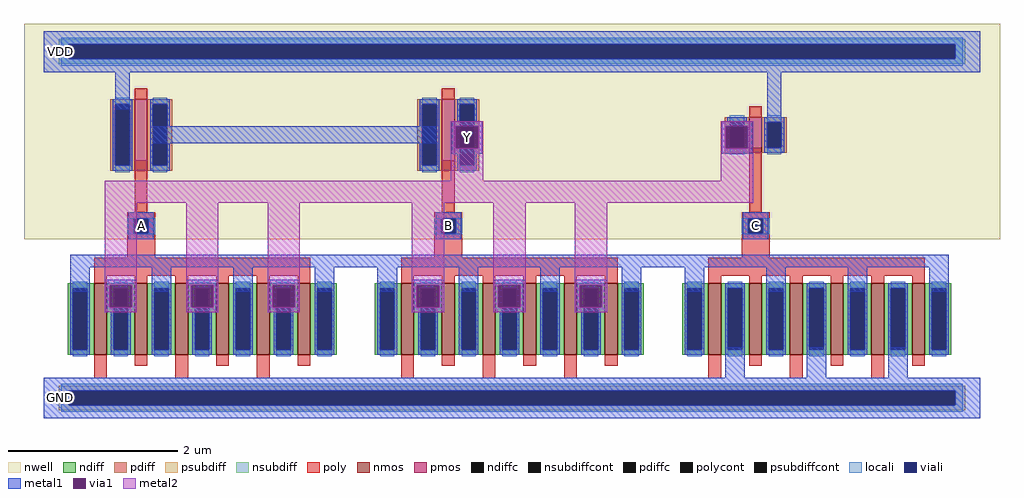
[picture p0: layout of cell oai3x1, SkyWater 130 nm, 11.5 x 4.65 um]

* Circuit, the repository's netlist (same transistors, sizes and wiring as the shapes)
** sch_path: /foss/designs/oai3x1.sch
.subckt oai3x1 VDD GND A B C Y
*.PININFO VDD:B GND:B A:I B:I C:I Y:O
XM2 net2 A VDD VDD sky130_fd_pr__pfet_01v8 L=0.15 W=0.84 nf=1
XM3 Y C VDD VDD sky130_fd_pr__pfet_01v8 L=0.15 W=0.42 nf=1
XM4 Y A net1 GND sky130_fd_pr__nfet_01v8 L=0.15 W=5.04 nf=6
XM1 Y B net2 VDD sky130_fd_pr__pfet_01v8 L=0.15 W=0.84 nf=1
XM6 net1 C GND GND sky130_fd_pr__nfet_01v8 L=0.15 W=5.04 nf=6
XM5 Y B net1 GND sky130_fd_pr__nfet_01v8 L=0.15 W=5.04 nf=6
.ends

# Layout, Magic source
magic
tech sky130A
magscale 1 2
<< nwell >>
rect -46 374 2254 882
<< psubdiff >>
rect 36 17 2172 29
rect 36 -17 60 17
rect 2148 -17 2172 17
rect 36 -29 2172 -17
<< nsubdiff >>
rect 36 833 2172 845
rect 36 799 60 833
rect 2148 799 2172 833
rect 36 787 2172 799
<< psubdiffcont >>
rect 60 -17 2148 17
<< nsubdiffcont >>
rect 60 799 2148 833
<< poly >>
rect 215 438 245 560
rect 939 438 969 560
rect 1663 438 1693 590
rect 197 422 263 438
rect 197 388 213 422
rect 247 388 263 422
rect 197 330 263 388
rect 921 422 987 438
rect 921 388 937 422
rect 971 388 987 422
rect 921 330 987 388
rect 1645 422 1711 438
rect 1645 388 1661 422
rect 1695 388 1711 422
rect 1645 330 1711 388
rect 119 288 629 330
rect 843 288 1353 330
rect 1567 288 2077 330
<< polycont >>
rect 213 388 247 422
rect 937 388 971 422
rect 1661 388 1695 422
<< locali >>
rect 42 833 2166 849
rect 42 799 60 833
rect 2148 799 2166 833
rect 42 783 2166 799
rect 197 422 263 424
rect 197 388 213 422
rect 247 388 263 422
rect 197 386 263 388
rect 921 422 987 424
rect 921 388 937 422
rect 971 388 987 422
rect 921 386 987 388
rect 1645 422 1711 424
rect 1645 388 1661 422
rect 1695 388 1711 422
rect 1645 386 1711 388
rect 42 17 2166 33
rect 42 -17 60 17
rect 2148 -17 2166 17
rect 42 -33 2166 -17
<< viali >>
rect 60 799 2148 833
rect 213 388 247 422
rect 937 388 971 422
rect 1661 388 1695 422
rect 60 -17 2148 17
<< metal1 >>
rect 0 833 2208 864
rect 0 799 60 833
rect 2148 799 2208 833
rect 0 768 2208 799
rect 169 680 203 768
rect 962 640 1034 652
rect 251 600 933 640
rect 962 588 972 640
rect 1024 588 1034 640
rect 962 576 1034 588
rect 1598 640 1670 652
rect 1705 650 1739 768
rect 1598 588 1608 640
rect 1660 588 1670 640
rect 1598 576 1670 588
rect 200 422 260 438
rect 200 388 213 422
rect 247 388 260 422
rect 200 374 260 388
rect 924 422 984 438
rect 924 388 937 422
rect 971 388 984 422
rect 924 374 984 388
rect 1648 422 1708 438
rect 1648 388 1661 422
rect 1695 388 1708 422
rect 1648 374 1708 388
rect 63 308 2133 338
rect 63 250 109 308
rect 144 266 220 278
rect 144 214 156 266
rect 208 214 220 266
rect 255 250 301 308
rect 336 266 412 278
rect 144 202 220 214
rect 336 214 348 266
rect 400 214 412 266
rect 447 250 493 308
rect 528 266 604 278
rect 336 202 412 214
rect 528 214 540 266
rect 592 214 604 266
rect 639 250 685 308
rect 787 250 833 308
rect 868 266 944 278
rect 528 202 604 214
rect 868 214 880 266
rect 932 214 944 266
rect 979 250 1025 308
rect 1060 266 1136 278
rect 868 202 944 214
rect 1060 214 1072 266
rect 1124 214 1136 266
rect 1171 250 1217 308
rect 1252 266 1328 278
rect 1060 202 1136 214
rect 1252 214 1264 266
rect 1316 214 1328 266
rect 1363 250 1409 308
rect 1511 250 1557 308
rect 1703 250 1749 308
rect 1895 250 1941 308
rect 2087 250 2133 308
rect 1252 202 1328 214
rect 1607 48 1653 120
rect 1799 48 1845 120
rect 1991 48 2037 120
rect 0 17 2208 48
rect 0 -17 60 17
rect 2148 -17 2208 17
rect 0 -48 2208 -17
<< via1 >>
rect 972 588 1024 640
rect 1608 588 1660 640
rect 156 214 208 266
rect 348 214 400 266
rect 540 214 592 266
rect 880 214 932 266
rect 1072 214 1124 266
rect 1264 214 1316 266
<< metal2 >>
rect 960 640 1036 652
rect 960 588 972 640
rect 1024 588 1036 640
rect 960 512 1036 588
rect 1596 640 1672 652
rect 1596 588 1608 640
rect 1660 588 1672 640
rect 1596 512 1672 588
rect 144 460 1672 512
rect 144 266 220 460
rect 144 214 156 266
rect 208 214 220 266
rect 144 202 220 214
rect 336 266 412 460
rect 336 214 348 266
rect 400 214 412 266
rect 336 202 412 214
rect 528 266 604 460
rect 528 214 540 266
rect 592 214 604 266
rect 528 202 604 214
rect 868 266 944 460
rect 868 214 880 266
rect 932 214 944 266
rect 868 202 944 214
rect 1060 266 1136 460
rect 1060 214 1072 266
rect 1124 214 1136 266
rect 1060 202 1136 214
rect 1252 266 1328 460
rect 1252 214 1264 266
rect 1316 214 1328 266
rect 1252 202 1328 214
use sky130_fd_pr__nfet_01v8_6WXBLA  xn4
transform 1 0 374 0 1 186
box -317 -139 317 139
use sky130_fd_pr__nfet_01v8_6WXBLA  xn5
transform 1 0 1098 0 1 186
box -317 -139 317 139
use sky130_fd_pr__nfet_01v8_6WXBLA  xn6
transform 1 0 1822 0 1 186
box -317 -139 317 139
use sky130_fd_pr__pfet_01v8_W5J8BK  xp1
transform 1 0 954 0 1 620
box -109 -146 109 146
use sky130_fd_pr__pfet_01v8_W5J8BK  xp2
transform 1 0 230 0 1 620
box -109 -146 109 146
use sky130_fd_pr__pfet_01v8_YNU6YZ  xp3
transform 1 0 1678 0 1 620
box -109 -104 109 104
<< labels >>
rlabel metal1 200 374 260 438 0 A
port 1 nsew
rlabel metal1 924 374 984 438 0 B
port 2 nsew
rlabel metal1 1648 374 1708 438 0 C
port 3 nsew
rlabel metal1 962 576 1034 652 0 Y
port 4 nsew
rlabel metal1 10 780 70 852 0 VDD
port 5 nsew
rlabel metal1 10 -36 70 36 0 GND
port 6 nsew
<< properties >>
string FIXED_BBOX 0 0 2208 816
<< end >>

# cell sky130_fd_pr__nfet_01v8_6WXBLA: kit device sky130_fd_pr__nfet_01v8, w 0.84 l 0.15 m 1 nf 6 diffcov 100 polycov 100 guard 0 glc 1 grc 1 gtc 1 gbc 1 tbcov 100 rlcov 100 topc 0 botc 0 poverlap 0 doverlap 1 lmin 0.15 wmin 0.42 class mosfet compatible {sky130_fd_pr__nfet_01v8 sky130_fd_pr__nfet_01v8_lvt sky130_fd_bs_flash__special_sonosfet_star sky130_fd_pr__nfet_g5v0d10v5 sky130_fd_pr__nfet_05v0_nvt sky130_fd_pr__nfet_03v3_nvt} full_metal 1 conn_gates 0 viasrc 100 viadrn 100 viagate 100 viagb 0 viagr 0 viagl 0 viagt 0 doports 1

# cell sky130_fd_pr__pfet_01v8_W5J8BK: kit device sky130_fd_pr__pfet_01v8, w 0.84 l 0.15 m 1 nf 1 diffcov 100 polycov 100 guard 0 glc 1 grc 1 gtc 1 gbc 1 tbcov 100 rlcov 100 topc 0 botc 0 poverlap 0 doverlap 1 lmin 0.15 wmin 0.42 class mosfet compatible {sky130_fd_pr__pfet_01v8 sky130_fd_pr__pfet_01v8_lvt sky130_fd_pr__pfet_01v8_hvt sky130_fd_pr__pfet_g5v0d10v5} full_metal 1 conn_gates 0 viasrc 100 viadrn 100 viagate 100 viagb 0 viagr 0 viagl 0 viagt 0 doports 1

# cell sky130_fd_pr__pfet_01v8_YNU6YZ: kit device sky130_fd_pr__pfet_01v8, w 0.42 l 0.15 m 1 nf 1 diffcov 100 polycov 100 guard 0 glc 1 grc 1 gtc 1 gbc 1 tbcov 100 rlcov 100 topc 0 botc 0 poverlap 0 doverlap 1 lmin 0.15 wmin 0.42 class mosfet compatible {sky130_fd_pr__pfet_01v8 sky130_fd_pr__pfet_01v8_lvt sky130_fd_pr__pfet_01v8_hvt sky130_fd_pr__pfet_g5v0d10v5} full_metal 1 conn_gates 0 viasrc 100 viadrn 100 viagate 100 viagb 0 viagr 0 viagl 0 viagt 0 doports 1
